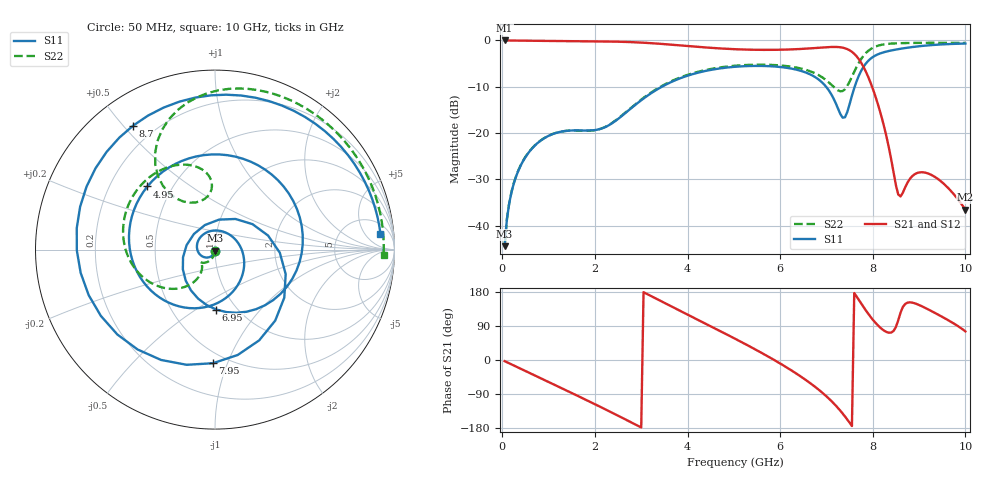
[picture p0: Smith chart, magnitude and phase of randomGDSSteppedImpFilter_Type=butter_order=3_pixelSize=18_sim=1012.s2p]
! freq	dB(S11)	phase(S11)	dB(S12)	phase(S12)
!  dB(S21)	phase(S21)	dB(S22)	phase(S22)
!S-par simulation data
#  GHz  S  DB  R 50
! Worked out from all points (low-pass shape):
!   200 points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, 50 MHz to 10 GHz, reference 50 ohm
!   highest |S21| = -0.01 dB at 50 MHz (marker M1); lowest = -36.6 dB at 10 GHz (marker M2)
!   |S21| within 3 dB of the highest: start of sweep to 7.611 GHz
!   lowest |S11| = -44.5 dB at 50 MHz (marker M3), VSWR 1.01, Z = 50 - j0.598 ohm
!   |S11| at or under -10 dB: start of sweep to 3.447 GHz; 6.991 GHz to 7.61 GHz (619 MHz wide, 8.48 % of centre)
!   |S22| runs from -44.4 to -0.5 dB; largest |S21 - S12| = 0
!   S11 on the Smith chart (normalised r, x): 50 MHz: 1.00, -0.01; 4.95 GHz: 0.36, +0.35; 6.95 GHz: 0.81, -0.61; 7.95 GHz: 0.42, -0.89; 8.7 GHz: 0.12, +0.53; 10 GHz: 10, +13
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0.05  -44.47 -90.6  -0.01 -3.0  -0.01 -3.0  -44.44 -88.6
0.2  -32.73 -104.5  -0.02 -11.7  -0.02 -11.7  -32.69 -97.4
0.5  -25.21 -128.6  -0.05 -29.1  -0.05 -29.1  -25.17 -110.2
1.75  -19.47 114.2  -0.17 -101.8  -0.17 -101.8  -19.50 -139.3
2.65  -15.76 -12.7  -0.32 -156.3  -0.32 -156.3  -15.64 -120.8
3.4  -10.26 -91.4  -0.72 157.0  -0.72 157.0  -10.10 -135.6
4.2  -7.03 -160.0  -1.37 107.5  -1.37 107.5  -6.85 -165.7
4.95  -5.76 136.9  -1.86 61.0  -1.86 61.0  -5.54 164.8
5.05  -5.67 128.2  -1.91 54.7  -1.91 54.7  -5.45 161.0
5.6  -5.51 77.7  -2.04 18.8  -2.04 18.8  -5.24 140.0
6.1  -5.86 26.4  -1.99 -16.6  -1.99 -16.6  -5.50 121.1
6.7  -7.60 -48.0  -1.68 -65.7  -1.68 -65.7  -6.86 99.4
6.95  -9.53 -88.8  -1.49 -90.5  -1.49 -90.5  -8.26 93.2
7.25  -14.74 -166.6  -1.43 -126.8  -1.43 -126.8  -10.79 101.3
7.5  -13.75 56.2  -2.13 -165.5  -2.13 -165.5  -8.89 127.3
7.75  -6.56 -34.7  -4.83 148.9  -4.83 148.9  -4.00 122.0
7.95  -3.97 -91.1  -9.09 114.2  -9.09 114.2  -1.89 105.1
8.35  -2.27 -179.7  -23.28 72.0  -23.28 72.0  -0.72 74.9
8.55  -1.88 145.8  -33.29 105.0  -33.29 105.0  -0.61 63.1
8.7  -1.64 123.4  -31.75 147.9  -31.75 147.9  -0.57 55.2
9.15  -1.11 70.1  -28.61 136.5  -28.61 136.5  -0.52 33.8
10  -0.67 5.4  -36.58 75.5  -36.58 75.5  -0.54 -1.8
